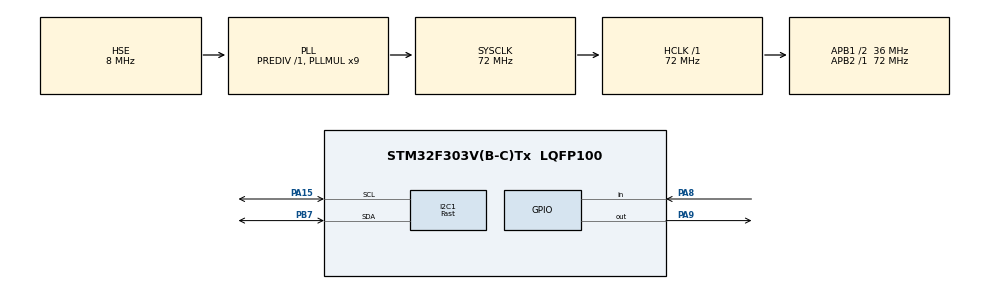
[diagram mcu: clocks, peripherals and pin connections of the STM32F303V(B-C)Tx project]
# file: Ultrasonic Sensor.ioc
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I2C1.I2C_Speed_Mode=I2C_Fast
I2C1.Timing=0x0000020B
Mcu.Family=STM32F3
Mcu.Name=STM32F303V(B-C)Tx
Mcu.Package=LQFP100
NVIC.PriorityGroup=NVIC_PRIORITYGROUP_4
PA13.Mode=Serial_Wire
PA13.Signal=SYS_JTMS-SWDIO
PA14.Mode=Serial_Wire
PA14.Signal=SYS_JTCK-SWCLK
PA15.Mode=I2C
PA15.Signal=I2C1_SCL
PA8.Signal=GPIO_Input
PA9.Signal=GPIO_Output
PB7.Mode=I2C
PB7.Signal=I2C1_SDA
PF0-OSC_IN.Mode=HSE-External-Oscillator
PF0-OSC_IN.Signal=RCC_OSC_IN
PF1-OSC_OUT.Mode=HSE-External-Oscillator
PF1-OSC_OUT.Signal=RCC_OSC_OUT
ProjectManager.HeapSize=0x200
ProjectManager.StackSize=0x400
ProjectManager.TargetToolchain=STM32CubeIDE
RCC.AHBFreq_Value=72000000
RCC.APB1CLKDivider=RCC_HCLK_DIV2
RCC.APB1Freq_Value=36000000
RCC.APB1TimFreq_Value=72000000
RCC.APB2Freq_Value=72000000
RCC.APB2TimFreq_Value=72000000
RCC.CortexFreq_Value=72000000
RCC.HCLKFreq_Value=72000000
RCC.HSE_VALUE=8000000
RCC.HSI_VALUE=8000000
RCC.LSE_VALUE=32768
RCC.PLLMUL=RCC_PLL_MUL9
RCC.PLLSourceVirtual=RCC_PLLSOURCE_HSE
RCC.SYSCLKFreq_VALUE=72000000
RCC.SYSCLKSourceVirtual=RCC_SYSCLKSOURCE_PLLCLK
RCC.USBFreq_Value=72000000
TIM1.Prescaler=71
VP_TIM1_VS_ClockSourceINT.Mode=Internal
board=custom

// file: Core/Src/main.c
/* USER CODE BEGIN Header */
/**
  ******************************************************************************
  * @file           : main.c
  * @brief          : Main program body
  ******************************************************************************
  * @attention
  *
  * Copyright (c) 2024 STMicroelectronics.
  * All rights reserved.
  *
  * This software is licensed under terms that can be found in the LICENSE file
  * in the root directory of this software component.
  * If no LICENSE file comes with this software, it is provided AS-IS.
  *
  ******************************************************************************
  */
/* USER CODE END Header */
#include "main.h"

/* USER CODE BEGIN Includes */

#include "fonts.h"
#include "ssd1306.h"
#include "stdio.h"

/* USER CODE END Includes */

I2C_HandleTypeDef hi2c1;

TIM_HandleTypeDef htim1;

/* USER CODE BEGIN PV */

#define TRIG_PIN GPIO_PIN_9
#define TRIG_PORT GPIOA
#define ECHO_PIN GPIO_PIN_8
#define ECHO_PORT GPIOA
uint32_t pMillis;
uint32_t Value1 = 0;
uint32_t Value2 = 0;
uint16_t Distance  = 0;  // cm
char strCopy[15];

/* USER CODE END PV */

void SystemClock_Config(void);
static void MX_GPIO_Init(void);
static void MX_TIM1_Init(void);
static void MX_I2C1_Init(void);

int main(void)
{

  /* MCU Configuration--------------------------------------------------------*/

  /* Reset of all peripherals, Initializes the Flash interface and the Systick. */
  HAL_Init();

  /* Configure the system clock */
  SystemClock_Config();

  /* Initialize all configured peripherals */
  MX_GPIO_Init();
  MX_TIM1_Init();
  MX_I2C1_Init();
  /* USER CODE BEGIN 2 */

    HAL_TIM_Base_Start(&htim1);
    HAL_GPIO_WritePin(TRIG_PORT, TRIG_PIN, GPIO_PIN_RESET);  // pull the TRIG pin low
    SSD1306_Init();

  /* USER CODE END 2 */

  /* Infinite loop */
  /* USER CODE BEGIN WHILE */
  while (1)
  {
	  HAL_GPIO_WritePin(TRIG_PORT, TRIG_PIN, GPIO_PIN_SET);  // pull the TRIG pin HIGH
	      __HAL_TIM_SET_COUNTER(&htim1, 0);
	      while (__HAL_TIM_GET_COUNTER (&htim1) < 10);  // wait for 10 us
	      HAL_GPIO_WritePin(TRIG_PORT, TRIG_PIN, GPIO_PIN_RESET);  // pull the TRIG pin low

	      pMillis = HAL_GetTick(); // used this to avoid infinite while loop  (for timeout)
	      // wait for the echo pin to go high
	      while (!(HAL_GPIO_ReadPin (ECHO_PORT, ECHO_PIN)) && pMillis + 10 >  HAL_GetTick());
	      Value1 = __HAL_TIM_GET_COUNTER (&htim1);

	      pMillis = HAL_GetTick(); // used this to avoid infinite while loop (for timeout)
	      // wait for the echo pin to go low
	      while ((HAL_GPIO_ReadPin (ECHO_PORT, ECHO_PIN)) && pMillis + 50 > HAL_GetTick());
	      Value2 = __HAL_TIM_GET_COUNTER (&htim1);

	      Distance = (Value2-Value1)* 0.034/2;

	      SSD1306_GotoXY (0, 0);
	      SSD1306_Puts ("Distance:", &Font_11x18, 1);
	      sprintf(strCopy,"%d    ", Distance);
	      SSD1306_GotoXY (0, 30);
	      SSD1306_Puts (strCopy, &Font_16x26, 1);
	      SSD1306_UpdateScreen();
	      HAL_Delay(50);
    /* USER CODE END WHILE */

  }
}

void SystemClock_Config(void)
{
  RCC_OscInitTypeDef RCC_OscInitStruct = {0};
  RCC_ClkInitTypeDef RCC_ClkInitStruct = {0};
  RCC_PeriphCLKInitTypeDef PeriphClkInit = {0};

  /** Initializes the RCC Oscillators according to the specified parameters
  * in the RCC_OscInitTypeDef structure.
  */
  RCC_OscInitStruct.OscillatorType = RCC_OSCILLATORTYPE_HSI|RCC_OSCILLATORTYPE_HSE;
  RCC_OscInitStruct.HSEState = RCC_HSE_ON;
  RCC_OscInitStruct.HSEPredivValue = RCC_HSE_PREDIV_DIV1;
  RCC_OscInitStruct.HSIState = RCC_HSI_ON;
  RCC_OscInitStruct.HSICalibrationValue = RCC_HSICALIBRATION_DEFAULT;
  RCC_OscInitStruct.PLL.PLLState = RCC_PLL_ON;
  RCC_OscInitStruct.PLL.PLLSource = RCC_PLLSOURCE_HSE;
  RCC_OscInitStruct.PLL.PLLMUL = RCC_PLL_MUL9;
  if (HAL_RCC_OscConfig(&RCC_OscInitStruct) != HAL_OK)
  {
    Error_Handler();
  }

  /** Initializes the CPU, AHB and APB buses clocks
  */
  RCC_ClkInitStruct.ClockType = RCC_CLOCKTYPE_HCLK|RCC_CLOCKTYPE_SYSCLK
                              |RCC_CLOCKTYPE_PCLK1|RCC_CLOCKTYPE_PCLK2;
  RCC_ClkInitStruct.SYSCLKSource = RCC_SYSCLKSOURCE_PLLCLK;
  RCC_ClkInitStruct.AHBCLKDivider = RCC_SYSCLK_DIV1;
  RCC_ClkInitStruct.APB1CLKDivider = RCC_HCLK_DIV2;
  RCC_ClkInitStruct.APB2CLKDivider = RCC_HCLK_DIV1;

  if (HAL_RCC_ClockConfig(&RCC_ClkInitStruct, FLASH_LATENCY_2) != HAL_OK)
  {
    Error_Handler();
  }
  PeriphClkInit.PeriphClockSelection = RCC_PERIPHCLK_I2C1|RCC_PERIPHCLK_TIM1;
  PeriphClkInit.I2c1ClockSelection = RCC_I2C1CLKSOURCE_HSI;
  PeriphClkInit.Tim1ClockSelection = RCC_TIM1CLK_HCLK;
  if (HAL_RCCEx_PeriphCLKConfig(&PeriphClkInit) != HAL_OK)
  {
    Error_Handler();
  }
}

static void MX_I2C1_Init(void)
{

  hi2c1.Instance = I2C1;
  hi2c1.Init.Timing = 0x0000020B;
  hi2c1.Init.OwnAddress1 = 0;
  hi2c1.Init.AddressingMode = I2C_ADDRESSINGMODE_7BIT;
  hi2c1.Init.DualAddressMode = I2C_DUALADDRESS_DISABLE;
  hi2c1.Init.OwnAddress2 = 0;
  hi2c1.Init.OwnAddress2Masks = I2C_OA2_NOMASK;
  hi2c1.Init.GeneralCallMode = I2C_GENERALCALL_DISABLE;
  hi2c1.Init.NoStretchMode = I2C_NOSTRETCH_DISABLE;
  if (HAL_I2C_Init(&hi2c1) != HAL_OK)
  {
    Error_Handler();
  }

  /** Configure Analogue filter
  */
  if (HAL_I2CEx_ConfigAnalogFilter(&hi2c1, I2C_ANALOGFILTER_ENABLE) != HAL_OK)
  {
    Error_Handler();
  }

  /** Configure Digital filter
  */
  if (HAL_I2CEx_ConfigDigitalFilter(&hi2c1, 0) != HAL_OK)
  {
    Error_Handler();
  }

}

static void MX_TIM1_Init(void)
{

  TIM_ClockConfigTypeDef sClockSourceConfig = {0};
  TIM_MasterConfigTypeDef sMasterConfig = {0};

  htim1.Instance = TIM1;
  htim1.Init.Prescaler = 71;
  htim1.Init.CounterMode = TIM_COUNTERMODE_UP;
  htim1.Init.Period = 65535;
  htim1.Init.ClockDivision = TIM_CLOCKDIVISION_DIV1;
  htim1.Init.RepetitionCounter = 0;
  htim1.Init.AutoReloadPreload = TIM_AUTORELOAD_PRELOAD_DISABLE;
  if (HAL_TIM_Base_Init(&htim1) != HAL_OK)
  {
    Error_Handler();
  }
  sClockSourceConfig.ClockSource = TIM_CLOCKSOURCE_INTERNAL;
  if (HAL_TIM_ConfigClockSource(&htim1, &sClockSourceConfig) != HAL_OK)
  {
    Error_Handler();
  }
  sMasterConfig.MasterOutputTrigger = TIM_TRGO_RESET;
  sMasterConfig.MasterOutputTrigger2 = TIM_TRGO2_RESET;
  sMasterConfig.MasterSlaveMode = TIM_MASTERSLAVEMODE_DISABLE;
  if (HAL_TIMEx_MasterConfigSynchronization(&htim1, &sMasterConfig) != HAL_OK)
  {
    Error_Handler();
  }

}

static void MX_GPIO_Init(void)
{
  GPIO_InitTypeDef GPIO_InitStruct = {0};

  /* GPIO Ports Clock Enable */
  __HAL_RCC_GPIOF_CLK_ENABLE();
  __HAL_RCC_GPIOA_CLK_ENABLE();
  __HAL_RCC_GPIOB_CLK_ENABLE();

  /*Configure GPIO pin Output Level */
  HAL_GPIO_WritePin(GPIOA, GPIO_PIN_9, GPIO_PIN_RESET);

  /*Configure GPIO pin : PA8 */
  GPIO_InitStruct.Pin = GPIO_PIN_8;
  GPIO_InitStruct.Mode = GPIO_MODE_INPUT;
  GPIO_InitStruct.Pull = GPIO_NOPULL;
  HAL_GPIO_Init(GPIOA, &GPIO_InitStruct);

  /*Configure GPIO pin : PA9 */
  GPIO_InitStruct.Pin = GPIO_PIN_9;
  GPIO_InitStruct.Mode = GPIO_MODE_OUTPUT_PP;
  GPIO_InitStruct.Pull = GPIO_NOPULL;
  GPIO_InitStruct.Speed = GPIO_SPEED_FREQ_LOW;
  HAL_GPIO_Init(GPIOA, &GPIO_InitStruct);

}

void Error_Handler(void)
{
  __disable_irq();
  while (1)
  {
  }
}
